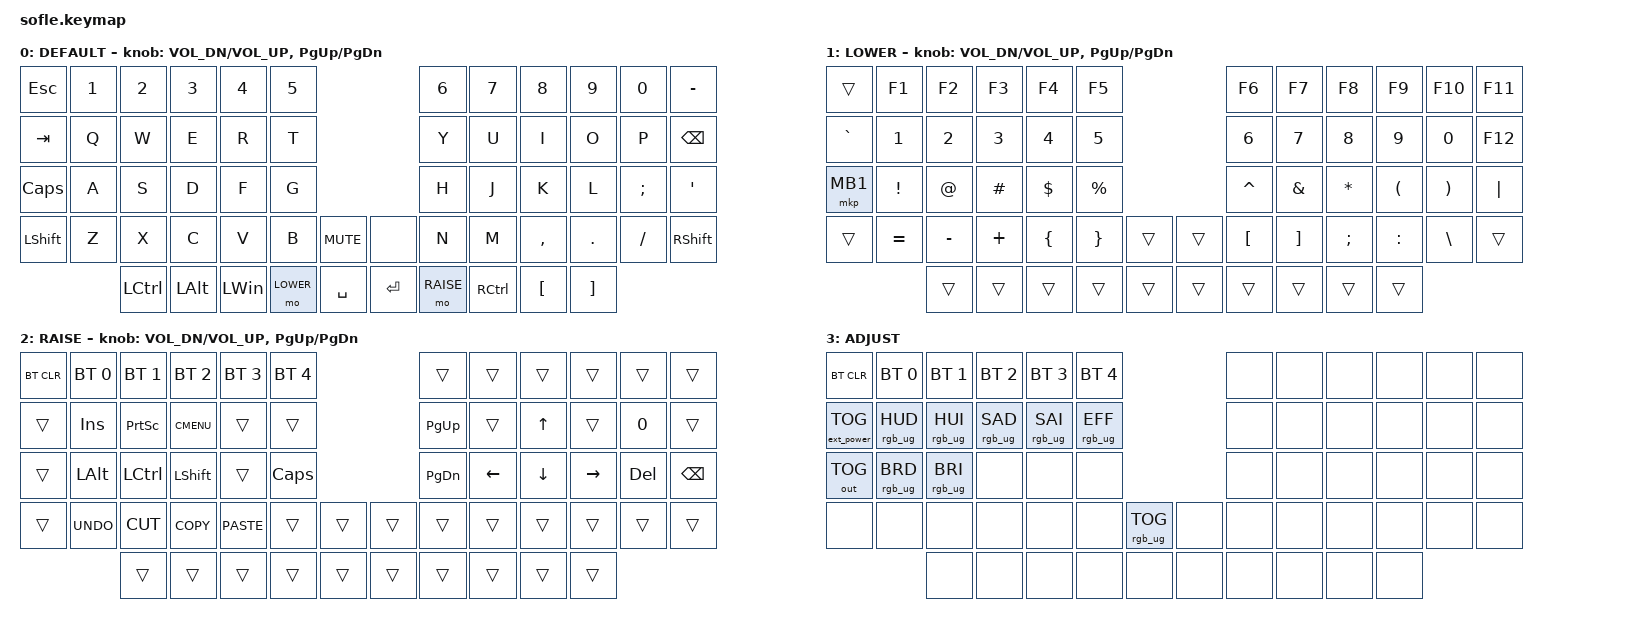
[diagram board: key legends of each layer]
/*
 * Copyright (c) 2020 The ZMK Contributors
 *
 * SPDX-License-Identifier: MIT
 */
#include <dt-bindings/zmk/mouse.h>
#include <dt-bindings/zmk/input_transform.h>
#include <behaviors.dtsi>
#include <dt-bindings/zmk/bt.h>
#include <dt-bindings/zmk/ext_power.h>
#include <dt-bindings/zmk/keys.h>
#include <dt-bindings/zmk/rgb.h>
#include <dt-bindings/zmk/outputs.h>

#define BASE 0
#define LOWER 1
#define RAISE 2
#define ADJUST 3

/ {
    behaviors {
        studio_unlock: studio_unlock { compatible = "zmk,behavior-unlock-studio"; };
    };

    // Activate ADJUST layer by pressing raise and lower

    conditional_layers {
        compatible = "zmk,conditional-layers";

        adjust_layer {
            if-layers = <LOWER RAISE>;
            then-layer = <ADJUST>;
        };
    };

    keymap {
        compatible = "zmk,keymap";

        default_layer {
            display-name = "DEFAULT";

            // ------------------------------------------------------------------------------------------------------------
            // |      |  1  |  2  |  3   |  4   |  5   |                   |  6   |  7    |  8    |  9   |   0   |       |
            // |  ESC  |  Q  |  W  |  E   |  R   |  T   |                   |  Y   |  U    |  I    |  O   |   P   | BKSPC |
            // |  TAB  |  A  |  S  |  D   |  F   |  G   |                   |  H   |  J    |  K    |  L   |   ;   |   '   |
            // | SHIFT |  Z  |  X  |  C   |  V   |  B   |  MUTE  |  |       |  N   |  M    |  ,    |  .   |   /   | SHIFT |
            //               | GUI | ALT  | CTRL | LOWER|  ENTER |  | SPACE | RAISE| CTRL  | ALT   | GUI  |

            bindings = <
&kp ESC    &kp N1  &kp N2     &kp N3        &kp N4        &kp N5                              &kp N6     &kp N7     &kp N8            &kp N9    &kp N0    &kp MINUS
&kp TAB    &kp Q   &kp W      &kp E         &kp R         &kp T                               &kp Y      &kp U      &kp I             &kp O     &kp P     &kp BSPC
&kp CAPS   &kp A   &kp S      &kp D         &kp F         &kp G                               &kp H      &kp J      &kp K             &kp L     &kp SEMI  &kp SQT
&kp LSHFT  &kp Z   &kp X      &kp C         &kp V         &kp B      &kp C_MUTE    &none      &kp N      &kp M      &kp COMMA         &kp DOT   &kp FSLH  &kp RSHFT
                   &kp LCTRL  &kp LEFT_ALT  &kp LEFT_WIN  &mo LOWER  &kp SPACE     &kp ENTER  &mo RAISE  &kp RCTRL  &kp LEFT_BRACKET  &kp RBKT
            >;

            sensor-bindings = <&inc_dec_kp C_VOL_DN C_VOL_UP &inc_dec_kp PG_UP PG_DN>;
        };

        lower_layer {
            display-name = "LOWER";

            // TODO: Some binds are waiting for shifted keycode support.
            // ------------------------------------------------------------------------------------------------------------
            // |       |  F1 |  F2 |  F3  |  F4  |  F5  |                   |  F6  |  F7   |  F8   |  F9  |  F10  |  F11  |
            // |      |  1  |  2  |  3   |  4   |  5   |                   |  6   |  7    |  8    |  9   |   0   |  F12  |
            // |       |  !  |  @  |  #   |  $   |  %   |                   |  ^   |  &    |  *    |  (   |   )   |   |   |
            // |       |  =  |  -  |  +   |  {   |  }   |        |  |       |  [   |  ]    |  ;    |  :   |   \   |       |
            //               |     |      |      |      |        |  |       |      |       |       |      |

            bindings = <
&trans     &kp F1     &kp F2     &kp F3    &kp F4    &kp F5                       &kp F6     &kp F7    &kp F8     &kp F9     &kp F10   &kp F11
&kp GRAVE  &kp N1     &kp N2     &kp N3    &kp N4    &kp N5                       &kp N6     &kp N7    &kp N8     &kp N9     &kp N0    &kp F12
&mkp MB1   &kp EXCL   &kp AT     &kp HASH  &kp DLLR  &kp PRCNT                    &kp CARET  &kp AMPS  &kp ASTRK  &kp LPAR   &kp RPAR  &kp PIPE
&trans     &kp EQUAL  &kp MINUS  &kp PLUS  &kp LBRC  &kp RBRC   &trans    &trans  &kp LBKT   &kp RBKT  &kp SEMI   &kp COLON  &kp BSLH  &trans
                      &trans     &trans    &trans    &trans     &trans    &trans  &trans     &trans    &trans     &trans
            >;

            sensor-bindings = <&inc_dec_kp C_VOL_DN C_VOL_UP &inc_dec_kp PG_UP PG_DN>;
        };

        raise_layer {
            display-name = "RAISE";

            // ------------------------------------------------------------------------------------------------------------
            // | BTCLR | BT1  | BT2  |  BT3  |  BT4  |  BT5 |                |      |      |       |      |       |       |
            // |       | INS  | PSCR | GUI   |       |      |                | PGUP |      |   ^   |      |       |       |
            // |       | ALT  | CTRL | SHIFT |       | CAPS |                | PGDN |   <- |   v   |  ->  |  DEL  | BKSPC |
            // |       | UNDO | CUT  | COPY  | PASTE |      |      |  |      |      |      |       |      |       |       |
            //                |      |       |       |      |      |  |      |      |      |       |      |

            bindings = <
&bt BT_CLR  &bt BT_SEL 0  &bt BT_SEL 1  &bt BT_SEL 2  &bt BT_SEL 3  &bt BT_SEL 4                    &trans     &trans    &trans    &trans     &trans   &trans
&trans      &kp INS       &kp PSCRN     &kp K_CMENU   &trans        &trans                          &kp PG_UP  &trans    &kp UP    &trans     &kp N0   &trans
&trans      &kp LALT      &kp LCTRL     &kp LSHFT     &trans        &kp CLCK                        &kp PG_DN  &kp LEFT  &kp DOWN  &kp RIGHT  &kp DEL  &kp BSPC
&trans      &kp K_UNDO    &kp K_CUT     &kp K_COPY    &kp K_PASTE   &trans        &trans    &trans  &trans     &trans    &trans    &trans     &trans   &trans
                          &trans        &trans        &trans        &trans        &trans    &trans  &trans     &trans    &trans    &trans
            >;

            sensor-bindings = <&inc_dec_kp C_VOL_DN C_VOL_UP &inc_dec_kp PG_UP PG_DN>;
        };

        adjust_layer {
            // ----------------------------------------------------------------------------------------------------------------------------
            // | BTCLR  |  BT1    |  BT2    |   BT3   |   BT4   |   BT5   |                  |      |      |       |      |       |       |
            // | EXTPWR | RGB_HUD | RGB_HUI | RGB_SAD | RGB_SAI | RGB_EFF |                  |      |      |       |      |       |       |
            // |        | RGB_BRD | RGB_BRI |         |         |         |                  |      |      |       |      |       |       |
            // |        |         |         |         |         |         | RGB_TOG | |      |      |      |       |      |       |       |
            //                    |         |         |         |         |         | |      |      |      |       |      |

            display-name = "ADJUST";
            bindings = <
&bt BT_CLR         &bt BT_SEL 0     &bt BT_SEL 1     &bt BT_SEL 2     &bt BT_SEL 3     &bt BT_SEL 4                               &none  &none  &none  &none  &none  &none
&ext_power EP_TOG  &rgb_ug RGB_HUD  &rgb_ug RGB_HUI  &rgb_ug RGB_SAD  &rgb_ug RGB_SAI  &rgb_ug RGB_EFF                            &none  &none  &none  &none  &none  &none
&out OUT_TOG       &rgb_ug RGB_BRD  &rgb_ug RGB_BRI  &none            &none            &none                                      &none  &none  &none  &none  &none  &none
&none              &none            &none            &none            &none            &none            &rgb_ug RGB_TOG    &none  &none  &none  &none  &none  &none  &none
                                    &none            &none            &none            &none            &none              &none  &none  &none  &none  &none
            >;
        };
    };
};

